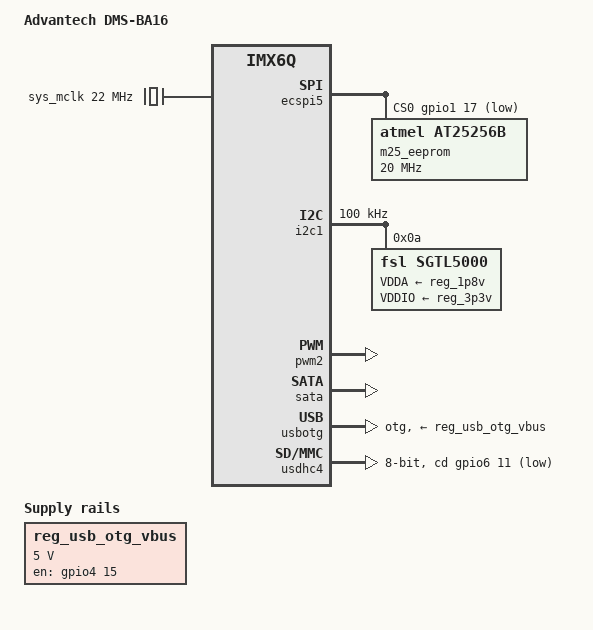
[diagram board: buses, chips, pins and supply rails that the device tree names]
// SPDX-License-Identifier: (GPL-2.0+ OR MIT)

/dts-v1/;

#include <dt-bindings/gpio/gpio.h>
#include "imx6q-ba16.dtsi"

/ {
	model = "Advantech DMS-BA16";
	compatible = "advantech,imx6q-dms-ba16", "advantech,imx6q-ba16", "fsl,imx6q";

	reg_usb_otg_vbus: regulator-usbotgvbus {
		compatible = "regulator-fixed";
		regulator-name = "usb_otg_vbus";
		regulator-min-microvolt = <5000000>;
		regulator-max-microvolt = <5000000>;
		pinctrl-names = "default";
		pinctrl-0 = <&pinctrl_usbotgvbus>;
		gpio = <&gpio4 15 GPIO_ACTIVE_HIGH>;
		enable-active-high;
	};

	sys_mclk: clock-sys-mclk {
		compatible = "fixed-clock";
		#clock-cells = <0>;
		clock-frequency = <22000000>;
	};

	sound {
		compatible = "fsl,imx6q-ba16-sgtl5000",
			     "fsl,imx-audio-sgtl5000";
		model = "imx6q-ba16-sgtl5000";
		ssi-controller = <&ssi1>;
		audio-codec = <&sgtl5000>;
		audio-routing =
			"MIC_IN", "Mic Jack",
			"Mic Jack", "Mic Bias",
			"Headphone Jack", "HP_OUT";
		mux-int-port = <1>;
		mux-ext-port = <4>;
	};
};

&ecspi5 {
	cs-gpios = <&gpio1 17 GPIO_ACTIVE_LOW>;
	pinctrl-names = "default";
	pinctrl-0 = <&pinctrl_ecspi5>;
	status = "okay";

	m25_eeprom: m25p80@0 {
		compatible = "atmel,at25256B", "atmel,at25";
		spi-max-frequency = <20000000>;
		size = <0x8000>;
		pagesize = <64>;
		reg = <0>;
		address-width = <16>;
	};
};

&iomuxc {
	pinctrl_i2c1_gpio: i2c1gpiogrp {
		fsl,pins = <
			MX6QDL_PAD_CSI0_DAT8__GPIO5_IO26        0x1b0b0
			MX6QDL_PAD_CSI0_DAT9__GPIO5_IO27        0x1b0b0
		>;
	};

	pinctrl_i2c2_gpio: i2c2gpiogrp {
		fsl,pins = <
			MX6QDL_PAD_KEY_COL3__GPIO4_IO12 0x1b0b0
			MX6QDL_PAD_KEY_ROW3__GPIO4_IO13 0x1b0b0
		>;
	};

	pinctrl_i2c3_gpio: i2c3gpiogrp {
		fsl,pins = <
			MX6QDL_PAD_GPIO_3__GPIO1_IO03   0x1b0b0
			MX6QDL_PAD_GPIO_6__GPIO1_IO06   0x1b0b0
		>;
	};

	pinctrl_usbotgvbus: usbotgvbusgrp {
		fsl,pins = <
			MX6QDL_PAD_ENET_RX_ER__USB_OTG_ID 0x17059
			MX6QDL_PAD_KEY_ROW4__GPIO4_IO15 0x000b0
		>;
	};
};

&i2c1 {
	clock-frequency = <100000>;
	pinctrl-names = "default";
	pinctrl-0 = <&pinctrl_i2c1>;
	status = "okay";

	sgtl5000: codec@a {
		compatible = "fsl,sgtl5000";
		reg = <0x0a>;
		clocks = <&sys_mclk>;
		lrclk-strength = <0x3>;
		VDDA-supply = <&reg_1p8v>;
		VDDIO-supply = <&reg_3p3v>;
	};
};

&pwm2 {
	pinctrl-names = "default";
	pinctrl-0 = <&pinctrl_pwm2>;
	status = "okay";
};

&sata {
	fsl,no-spread-spectrum;
	fsl,transmit-atten-16ths = <12>;
	fsl,transmit-boost-mdB = <3330>;
	fsl,transmit-level-mV = <1133>;
	fsl,receive-dpll-mode = <1>;
	status = "okay";
};

&usbotg {
	vbus-supply = <&reg_usb_otg_vbus>;
	pinctrl-names = "default";
	pinctrl-0 = <&pinctrl_usbotg>;
	dr_mode = "otg";
	disable-over-current;
	status = "okay";
};

&usdhc4 {
	pinctrl-names = "default";
	pinctrl-0 = <&pinctrl_usdhc4>;
	bus-width = <8>;
	cd-gpios = <&gpio6 11 GPIO_ACTIVE_LOW>;
	no-1-8-v;
	keep-power-in-suspend;
	wakeup-source;
	status = "okay";
};
